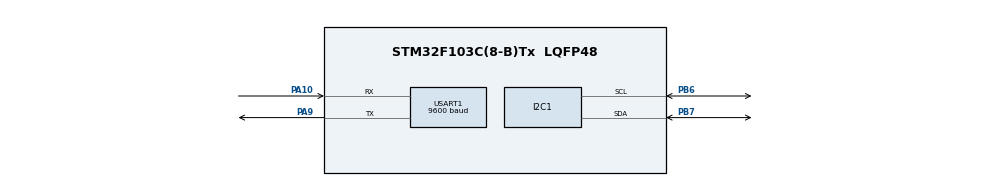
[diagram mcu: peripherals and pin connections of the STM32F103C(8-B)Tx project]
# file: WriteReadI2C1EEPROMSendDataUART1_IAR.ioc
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Mcu.Family=STM32F1
Mcu.Name=STM32F103C(8-B)Tx
Mcu.Package=LQFP48
NVIC.PriorityGroup=NVIC_PRIORITYGROUP_4
PA10.Mode=Asynchronous
PA10.Signal=USART1_RX
PA13.Mode=Serial_Wire
PA13.Signal=SYS_JTMS-SWDIO
PA14.Mode=Serial_Wire
PA14.Signal=SYS_JTCK-SWCLK
PA9.Mode=Asynchronous
PA9.Signal=USART1_TX
PB6.Mode=I2C
PB6.Signal=I2C1_SCL
PB7.Mode=I2C
PB7.Signal=I2C1_SDA
PD0-OSC_IN.Mode=HSE-External-Oscillator
PD0-OSC_IN.Signal=RCC_OSC_IN
PD1-OSC_OUT.Mode=HSE-External-Oscillator
PD1-OSC_OUT.Signal=RCC_OSC_OUT
ProjectManager.HeapSize=0x200
ProjectManager.StackSize=0x400
ProjectManager.TargetToolchain=EWARM V8.32
RCC.APB1Freq_Value=8000000
RCC.APB2Freq_Value=8000000
RCC.SYSCLKSource=RCC_SYSCLKSOURCE_HSE
USART1.BaudRate=9600
USART1.VirtualMode=VM_ASYNC
board=custom

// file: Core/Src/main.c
/* USER CODE BEGIN Header */
/**
  ******************************************************************************
  * @file           : main.c
  * @brief          : Main program body
  ******************************************************************************
  * @attention
  *
  * Copyright (c) 2023 STMicroelectronics.
  * All rights reserved.
  *
  * This software is licensed under terms that can be found in the LICENSE file
  * in the root directory of this software component.
  * If no LICENSE file comes with this software, it is provided AS-IS.
  *
  ******************************************************************************
  */
/* USER CODE END Header */
#include "main.h"

I2C_HandleTypeDef hi2c1;

UART_HandleTypeDef huart1;

void SystemClock_Config(void);
static void MX_GPIO_Init(void);
static void MX_I2C1_Init(void);
static void MX_USART1_UART_Init(void);

/* USER CODE BEGIN 0 */

void putstr(char *p);
void ByteWrite(uint8_t DevAddress, uint16_t address, uint8_t data);
uint8_t RandomRead(uint8_t DevAddress, uint16_t address);

/* USER CODE END 0 */

int main(void)
{
  /* USER CODE BEGIN 1 */

  char d[13] = "";

  /* USER CODE END 1 */

  /* MCU Configuration--------------------------------------------------------*/

  /* Reset of all peripherals, Initializes the Flash interface and the Systick. */
  HAL_Init();

  /* Configure the system clock */
  SystemClock_Config();

  /* Initialize all configured peripherals */
  MX_GPIO_Init();
  MX_I2C1_Init();
  MX_USART1_UART_Init();
  /* USER CODE BEGIN 2 */

  ByteWrite(0x50, 10, 'D');
  ByteWrite(0x50, 11, 'i');
  ByteWrite(0x50, 12, 'b');
  ByteWrite(0x50, 13, 'a');
  ByteWrite(0x50, 14, 'D');
  ByteWrite(0x50, 15, 'i');
  ByteWrite(0x50, 16, 'g');
  ByteWrite(0x50, 17, 'i');
  ByteWrite(0x50, 18, 't');
  ByteWrite(0x50, 19, 'a');
  ByteWrite(0x50, 20, 'l');

  /* USER CODE END 2 */

  /* Infinite loop */
  /* USER CODE BEGIN WHILE */
  while (1)
  {
    d[0] = RandomRead(0x50, 10);
    d[1] = RandomRead(0x50, 11);
    d[2] = RandomRead(0x50, 12);
    d[3] = RandomRead(0x50, 13);
    d[4] = RandomRead(0x50, 14);
    d[5] = RandomRead(0x50, 15);
    d[6] = RandomRead(0x50, 16);
    d[7] = RandomRead(0x50, 17);
    d[8] = RandomRead(0x50, 18);
    d[9] = RandomRead(0x50, 19);
    d[10] = RandomRead(0x50, 20);
    d[11] = '\n';

    putstr(d);
    //putstr("salam\n");
    HAL_Delay(500);

    /* USER CODE END WHILE */

  }
}

void SystemClock_Config(void)
{
  RCC_OscInitTypeDef RCC_OscInitStruct = {0};
  RCC_ClkInitTypeDef RCC_ClkInitStruct = {0};

  /** Initializes the RCC Oscillators according to the specified parameters
  * in the RCC_OscInitTypeDef structure.
  */
  RCC_OscInitStruct.OscillatorType = RCC_OSCILLATORTYPE_HSE;
  RCC_OscInitStruct.HSEState = RCC_HSE_ON;
  RCC_OscInitStruct.PLL.PLLState = RCC_PLL_NONE;
  if (HAL_RCC_OscConfig(&RCC_OscInitStruct) != HAL_OK)
  {
    Error_Handler();
  }

  /** Initializes the CPU, AHB and APB buses clocks
  */
  RCC_ClkInitStruct.ClockType = RCC_CLOCKTYPE_HCLK|RCC_CLOCKTYPE_SYSCLK
                              |RCC_CLOCKTYPE_PCLK1|RCC_CLOCKTYPE_PCLK2;
  RCC_ClkInitStruct.SYSCLKSource = RCC_SYSCLKSOURCE_HSE;
  RCC_ClkInitStruct.AHBCLKDivider = RCC_SYSCLK_DIV1;
  RCC_ClkInitStruct.APB1CLKDivider = RCC_HCLK_DIV1;
  RCC_ClkInitStruct.APB2CLKDivider = RCC_HCLK_DIV1;

  if (HAL_RCC_ClockConfig(&RCC_ClkInitStruct, FLASH_LATENCY_0) != HAL_OK)
  {
    Error_Handler();
  }
}

static void MX_I2C1_Init(void)
{

  hi2c1.Instance = I2C1;
  hi2c1.Init.ClockSpeed = 100000;
  hi2c1.Init.DutyCycle = I2C_DUTYCYCLE_2;
  hi2c1.Init.OwnAddress1 = 0;
  hi2c1.Init.AddressingMode = I2C_ADDRESSINGMODE_7BIT;
  hi2c1.Init.DualAddressMode = I2C_DUALADDRESS_DISABLE;
  hi2c1.Init.OwnAddress2 = 0;
  hi2c1.Init.GeneralCallMode = I2C_GENERALCALL_DISABLE;
  hi2c1.Init.NoStretchMode = I2C_NOSTRETCH_DISABLE;
  if (HAL_I2C_Init(&hi2c1) != HAL_OK)
  {
    Error_Handler();
  }

}

static void MX_USART1_UART_Init(void)
{

  huart1.Instance = USART1;
  huart1.Init.BaudRate = 9600;
  huart1.Init.WordLength = UART_WORDLENGTH_8B;
  huart1.Init.StopBits = UART_STOPBITS_1;
  huart1.Init.Parity = UART_PARITY_NONE;
  huart1.Init.Mode = UART_MODE_TX_RX;
  huart1.Init.HwFlowCtl = UART_HWCONTROL_NONE;
  huart1.Init.OverSampling = UART_OVERSAMPLING_16;
  if (HAL_UART_Init(&huart1) != HAL_OK)
  {
    Error_Handler();
  }

}

static void MX_GPIO_Init(void)
{

  /* GPIO Ports Clock Enable */
  __HAL_RCC_GPIOD_CLK_ENABLE();
  __HAL_RCC_GPIOA_CLK_ENABLE();
  __HAL_RCC_GPIOB_CLK_ENABLE();

}

/* USER CODE BEGIN 4 */

void putstr(char *p)
{
  while(*p != 0)
  {
    HAL_UART_Transmit(&huart1, (uint8_t*) p, 1, 10);
    p++;
  }
}

void ByteWrite(uint8_t DevAddress, uint16_t address, uint8_t data)
{
  uint8_t X[3];
  DevAddress <<= 1;
  X[0] = (address >> 8);
  X[1] = address;
  X[2] = data;
  HAL_I2C_Master_Transmit(&hi2c1, DevAddress, X, 3, 10);
  HAL_Delay(5);
}

uint8_t RandomRead(uint8_t DevAddress, uint16_t address)
{
  uint8_t X[2];
  uint8_t read;
  DevAddress <<= 1;
  X[0] = (address >> 8);
  X[1] = address;
  HAL_I2C_Master_Transmit(&hi2c1, DevAddress, X, 2, 10);
  HAL_I2C_Master_Receive(&hi2c1, DevAddress, (uint8_t*) &read, 1, 10);
  HAL_Delay(5);
  return read;
}

/* USER CODE END 4 */

void Error_Handler(void)
{
  __disable_irq();
  while (1)
  {
  }
}
